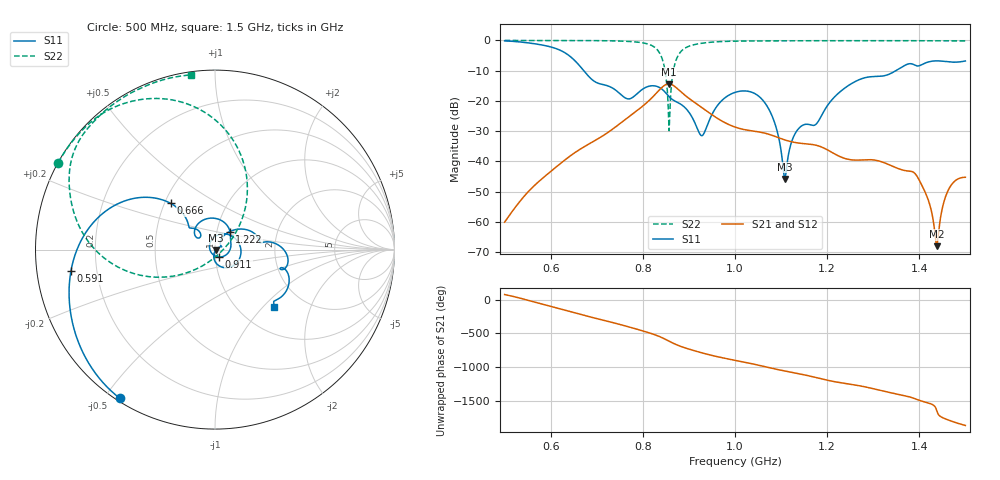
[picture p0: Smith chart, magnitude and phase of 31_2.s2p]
! TOUCHSTONE file generated by CST MICROWAVE STUDIO
! Date and time: Fri Oct  2 16:20:14 2020
! Project name: Scenario_1_Free_Space_out_of_line.cst
! Parameters = {Lambda=346.42; Step_1=17.321; dy1=-172.59; dx1=346; L_HA=400; MT=2.54; Rad_Dielectric=30; Rad_Lower=7.3; Rad_Upper=30; a_HA=580; a_WG=246; b_HA=500; b_WG=121; c_HA=0; c_WG=187; d_feed=85; h_feed=15; h_lower=18; h_upper=40}
! Header version: 2018
! Port assignment regex: !\s*Touchstone port\s*([0-9]+)\s*=\s*(CST MWS port|CST DS port)\s*([0-9]+|Zmin|Zmax)\s*\(\"(.*)\"\)(\s*mode\s*([0-9]+))?.*
! Touchstone port assignment:
! Touchstone port 1 = CST MWS port 1 ("")
! Touchstone port 2 = CST MWS port 2 ("")
# GHz S DB R 50
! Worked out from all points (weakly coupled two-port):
!   1003 points, 500 MHz to 1.5 GHz, reference 50 ohm
!   highest |S21| = -14.38 dB at 856 MHz (marker M1); lowest = -68.1 dB at 1.438 GHz (marker M2)
!   lowest |S11| = -45.9 dB at 1.108 GHz (marker M3), VSWR 1.01, Z = 50.4 - j0.31 ohm
!   |S11| at or under -10 dB: 671.8 MHz to 1.349 GHz (677.3 MHz wide, 67 % of centre)
!   |S22| runs from -29.9 to 0.0 dB; largest |S21 - S12| = 8.5e-06
!   S11 on the Smith chart (normalised r, x): 500 MHz: 0.01, -0.55; 591 MHz: 0.10, -0.07; 666 MHz: 0.54, +0.32; 911 MHz: 1.04, -0.09; 1.222 GHz: 1.15, +0.23; 1.5 GHz: 1.44, -1.15
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0.5  -0.14 -122.7  -60.13 73.9  -60.13 73.9  -0.01 151.1
0.591  -1.81 -171.5  -44.50 -85.0  -44.50 -85.0  -0.02 144.7
0.666  -8.95 133.8  -35.80 138.1  -35.80 138.1  -0.04 138.3
0.667  -9.13 133.5  -35.70 136.2  -35.70 136.2  -0.04 138.2
0.766  -19.30 138.0  -25.70 -38.6  -25.70 -38.6  -0.30 123.7
0.834  -15.41 82.2  -16.69 177.7  -16.69 177.7  -3.59 84.3
0.846  -16.74 59.5  -14.98 141.3  -14.98 141.3  -8.31 62.0
0.856  -18.43 44.2  -14.38 106.5  -14.38 106.5  -26.26 3.6
0.875  -20.47 20.2  -15.96 44.9  -15.96 44.9  -5.48 -168.4
0.911  -26.65 -62.6  -20.38 -36.8  -20.38 -36.8  -1.41 160.9
0.93  -31.36 -165.1  -22.42 -73.6  -22.42 -73.6  -0.89 154.2
1  -17.20 14.3  -28.66 179.3  -28.66 179.3  -0.23 140.0
1.069  -21.58 -81.2  -30.86 78.8  -30.86 78.8  -0.15 132.3
1.108  -45.86 -37.1  -32.91 21.2  -32.91 21.2  -0.12 128.8
1.132  -30.43 28.3  -33.82 -10.6  -33.82 -10.6  -0.10 126.8
1.167  -28.08 28.9  -34.42 -61.2  -34.42 -61.2  -0.10 124.0
1.222  -17.80 50.9  -38.02 -144.3  -38.02 -144.3  -0.08 119.8
1.334  -11.20 8.7  -41.11 64.8  -41.11 64.8  -0.09 111.3
1.395  -8.44 -16.4  -44.94 -42.6  -44.94 -42.6  -0.09 106.5
1.438  -6.76 -30.1  -68.09 150.9  -68.09 150.9  -0.11 103.0
1.462  -7.06 -38.9  -49.80 17.6  -49.80 17.5  -0.13 101.0
1.5  -6.79 -43.9  -45.28 -65.7  -45.30 -65.7  -0.15 97.7
